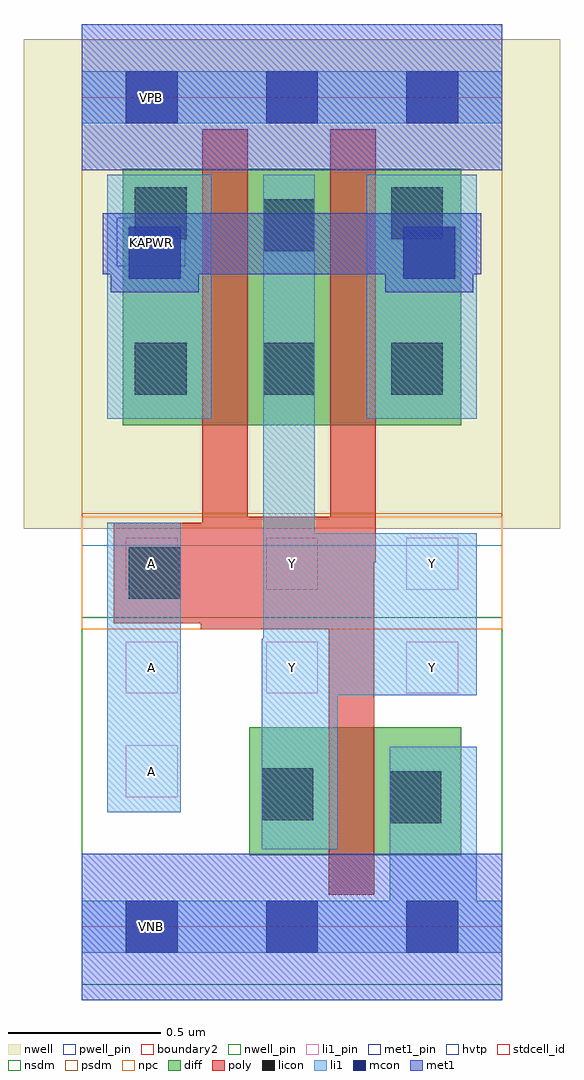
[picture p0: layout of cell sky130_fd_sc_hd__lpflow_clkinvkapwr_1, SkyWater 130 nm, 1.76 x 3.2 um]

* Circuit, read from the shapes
.subckt sky130_fd_sc_hd__lpflow_clkinvkapwr_1 A KAPWR VGND VNB VPB VPWR Y
XM1 VGND A Y VNB sky130_fd_pr__nfet_01v8 w=0.42 l=0.15
XM2 Y A KAPWR VPB sky130_fd_pr__pfet_01v8_hvt w=0.84 l=0.15 m=2
.ends

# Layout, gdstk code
import gdstk
lib = gdstk.Library(unit=1e-6, precision=1e-09)
def R(c, l, rs):  # rectangles x0, y0, x1, y1
    for r in rs: c.add(gdstk.rectangle(r[:2], r[2:], *l))
def A(c, l, x, y, w, h, nx, ny, dx, dy):  # array of equal rectangles
    R(c, l, [(x+i*dx, y+j*dy, x+i*dx+w, y+j*dy+h) for i in range(nx) for j in range(ny)])
def P(c, l, *ps):  # polygons
    for p in ps: c.add(gdstk.Polygon(p, *l))
nwell_pin = (64, 16)
nwell = (64, 20)
diff = (65, 20)
poly = (66, 20)
licon = (66, 44)
li1_pin = (67, 16)
li1 = (67, 20)
mcon = (67, 44)
met1_pin = (68, 16)
met1 = (68, 20)
hvtp = (78, 44)
stdcell_id = (81, 4)
nsdm = (93, 44)
psdm = (94, 20)
npc = (95, 20)
pwell_pin = (122, 16)
boundary2 = (236, 0)

sky130_fd_sc_hd__lpflow_ = lib.new_cell('sky130_fd_sc_hd__lpflow_clkinvkapwr_1')
R(sky130_fd_sc_hd__lpflow_, nwell_pin, [(0.145,2.635,0.315,2.805)])
R(sky130_fd_sc_hd__lpflow_, nwell, [(-0.19,1.305,1.57,2.91)])
R(sky130_fd_sc_hd__lpflow_, diff, [(0.55,0.235,1.245,0.655), (0.135,1.645,1.245,2.485)])
P(sky130_fd_sc_hd__lpflow_, poly, [(0.96,1.195),(0.965,1.195),(0.965,2.615),(0.815,2.615),(0.815,1.345),(0.545,1.345),(0.545,2.615),(0.395,2.615),(0.395,1.325),(0.105,1.325),(0.105,0.995),(0.39,0.995),(0.39,0.975),(0.81,0.975),(0.81,0.105),(0.96,0.105)])
A(sky130_fd_sc_hd__lpflow_, licon, 0.175, 1.745, 0.17, 0.17, 3, 1, 0.42, 0)
R(sky130_fd_sc_hd__lpflow_, licon, [(1.01,0.34,1.18,0.51), (0.59,0.35,0.76,0.52), (0.155,1.075,0.325,1.245), (0.595,2.215,0.765,2.385), (0.175,2.255,0.345,2.425), (1.015,2.255,1.185,2.425)])
A(sky130_fd_sc_hd__lpflow_, li1_pin, 0.145, 0.765, 0.17, 0.17, 3, 2, 0.46, 0.34)
R(sky130_fd_sc_hd__lpflow_, li1_pin, [(0.145,0.425,0.315,0.595)])
R(sky130_fd_sc_hd__lpflow_, li1, [(0.085,0.375,0.325,1.325), (0.085,1.665,0.425,2.465), (0.935,1.665,1.295,2.465), (0,2.635,1.38,2.805)])
P(sky130_fd_sc_hd__lpflow_, li1, [(1.38,0.085),(1.295,0.085),(1.295,0.59),(1.01,0.59),(1.01,0.085),(0,0.085),(0,-0.085),(1.38,-0.085)],
  [(1.295,1.29),(0.765,1.29),(0.765,2.465),(0.595,2.465),(0.595,0.945),(0.59,0.945),(0.59,0.255),(0.84,0.255),(0.84,0.76),(1.295,0.76)])
A(sky130_fd_sc_hd__lpflow_, mcon, 0.145, -0.085, 0.17, 0.17, 3, 2, 0.46, 2.72)
R(sky130_fd_sc_hd__lpflow_, mcon, [(0.155,2.125,0.325,2.295), (1.055,2.125,1.225,2.295)])
R(sky130_fd_sc_hd__lpflow_, met1_pin, [(0.145,-0.085,0.315,0.085), (0.115,2.165,0.34,2.325), (0.145,2.635,0.315,2.805)])
P(sky130_fd_sc_hd__lpflow_, met1, [(1.31,2.34),(0.07,2.34),(0.07,2.14),(0.095,2.14),(0.095,2.08),(0.385,2.08),(0.385,2.14),(0.995,2.14),(0.995,2.08),(1.285,2.08),(1.285,2.14),(1.31,2.14)])
R(sky130_fd_sc_hd__lpflow_, hvtp, [(0,1.25,1.38,2.72)])
R(sky130_fd_sc_hd__lpflow_, stdcell_id, [(0,0,1.38,2.72)])
R(sky130_fd_sc_hd__lpflow_, nsdm, [(0,-0.19,1.38,1.015)])
R(sky130_fd_sc_hd__lpflow_, psdm, [(0,1.355,1.38,2.91)])
R(sky130_fd_sc_hd__lpflow_, npc, [(0,0.975,1.38,1.345)])
R(sky130_fd_sc_hd__lpflow_, pwell_pin, [(0.145,-0.085,0.315,0.085)])
R(sky130_fd_sc_hd__lpflow_, boundary2, [(0,0,1.38,2.72)])
sky130_fd_sc_hd__lpflow_.add(gdstk.FlexPath([(0,2.72),(1.38,2.72)], 0.48, ends="flush", simple_path=True, layer=68, datatype=20))  # met1
sky130_fd_sc_hd__lpflow_.add(gdstk.FlexPath([(0,0),(1.38,0)], 0.48, ends="flush", simple_path=True, layer=68, datatype=20))  # met1
sky130_fd_sc_hd__lpflow_.add(gdstk.Label('Y', (1.15,0.85), layer=67, texttype=5))
sky130_fd_sc_hd__lpflow_.add(gdstk.Label('Y', (1.15,1.19), layer=67, texttype=5))
sky130_fd_sc_hd__lpflow_.add(gdstk.Label('Y', (0.69,1.19), layer=67, texttype=5))
sky130_fd_sc_hd__lpflow_.add(gdstk.Label('Y', (0.69,0.85), layer=67, texttype=5))
sky130_fd_sc_hd__lpflow_.add(gdstk.Label('A', (0.23,0.51), layer=67, texttype=5))
sky130_fd_sc_hd__lpflow_.add(gdstk.Label('A', (0.23,0.85), layer=67, texttype=5))
sky130_fd_sc_hd__lpflow_.add(gdstk.Label('A', (0.23,1.19), layer=67, texttype=5))
sky130_fd_sc_hd__lpflow_.add(gdstk.Label('VPB', (0.23,2.72), layer=64, texttype=5))
sky130_fd_sc_hd__lpflow_.add(gdstk.Label('VNB', (0.23,0), layer=64, texttype=59))
sky130_fd_sc_hd__lpflow_.add(gdstk.Label('KAPWR', (0.23,2.245), layer=68, texttype=5))
sky130_fd_sc_hd__lpflow_.add(gdstk.Label('VGND', (0.23,0), layer=68, texttype=5))
sky130_fd_sc_hd__lpflow_.add(gdstk.Label('VPWR', (0.23,2.72), layer=68, texttype=5))
sky130_fd_sc_hd__lpflow_.add(gdstk.Label('lpflow_clkinvkapwr_1', (0,0), layer=83, texttype=44))

lib.write_gds('sky130_fd_sc_hd__lpflow_clkinvkapwr_1.gds')
